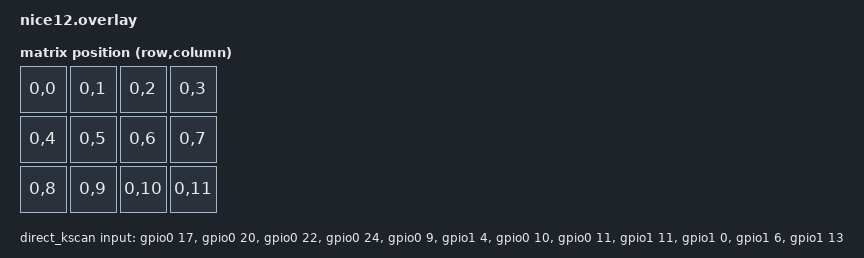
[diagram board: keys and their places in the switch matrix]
/dts-v1/;
#include <nordic/nrf52840_qiaa.dtsi>
#include <dt-bindings/zmk/keys.h>
#include <dt-bindings/zmk/bt.h>

/ {
    chosen {
        zmk,kscan = &direct_kscan;
        zmk,matrix-transform = &default_transform;
    };

    // 直接引脚扫描（12键独立）
    direct_kscan: direct_kscan {
        compatible = "zmk,kscan-gpio-direct";
        debounce-delay-ms = <15>;
        input-gpios = 
            <&gpio0 17 (GPIO_ACTIVE_LOW | GPIO_PULL_UP)>,
            <&gpio0 20 (GPIO_ACTIVE_LOW | GPIO_PULL_UP)>,
            <&gpio0 22 (GPIO_ACTIVE_LOW | GPIO_PULL_UP)>,
            <&gpio0 24 (GPIO_ACTIVE_LOW | GPIO_PULL_UP)>,
            <&gpio0 9  (GPIO_ACTIVE_LOW | GPIO_PULL_UP)>,
            <&gpio1 4  (GPIO_ACTIVE_LOW | GPIO_PULL_UP)>,
            <&gpio0 10 (GPIO_ACTIVE_LOW | GPIO_PULL_UP)>,
            <&gpio0 11 (GPIO_ACTIVE_LOW | GPIO_PULL_UP)>,
            <&gpio1 11 (GPIO_ACTIVE_LOW | GPIO_PULL_UP)>,
            <&gpio1 0  (GPIO_ACTIVE_LOW | GPIO_PULL_UP)>,
            <&gpio1 6  (GPIO_ACTIVE_LOW | GPIO_PULL_UP)>,
            <&gpio1 13 (GPIO_ACTIVE_LOW | GPIO_PULL_UP)>;
    };

    // 矩阵变换（一行12列）
    default_transform: keymap_transform_0 {
        compatible = "zmk,matrix-transform";
        columns = <12>;
        rows = <1>;
        map = <
            RC(0,0) RC(0,1) RC(0,2) RC(0,3)
            RC(0,4) RC(0,5) RC(0,6) RC(0,7)
            RC(0,8) RC(0,9) RC(0,10) RC(0,11)
        >;
    };

    // 组合键定义（三键组合）
    combos {
        compatible = "zmk,combos";
        #address-cells = <1>;
        #size-cells = <0>;

        combo_bt_pair: combo_bt_pair {
            timeout-ms = <50>;
            key-positions = <11 0 1>;  // Tab(11) + W(0) + S(2) 
            bindings = <&bt BT_SEL 0>;
        };

        combo_bt_clear: combo_bt_clear {
            timeout-ms = <50>;
            key-positions = <11 0 3>;  // Tab(11) + A(1) + D(3)
            bindings = <&bt BT_CLR>;
        };
    };
};

// 引脚别名（方便调试）
&gpio0 {
    status = "okay";
};
&gpio1 {
    status = "okay";
};
